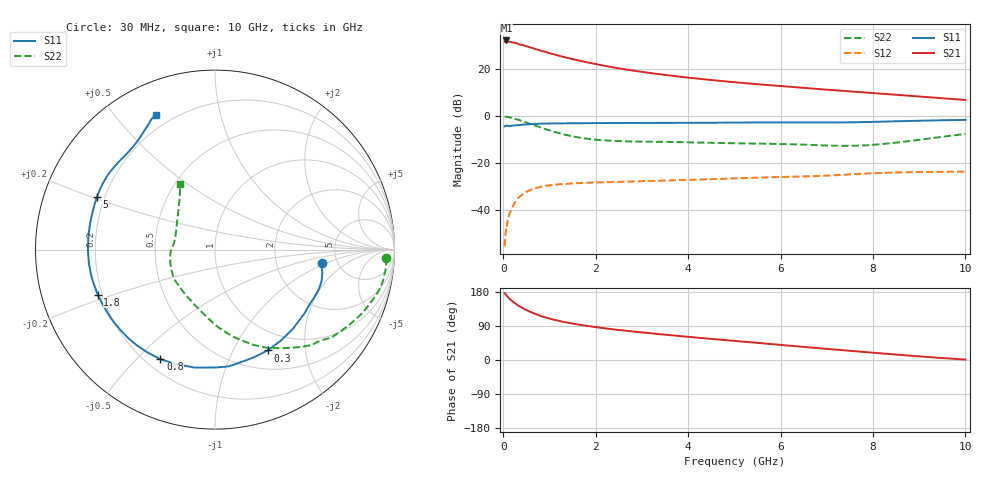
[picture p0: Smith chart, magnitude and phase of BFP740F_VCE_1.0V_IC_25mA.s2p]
! Infineon Technologies  Discrete & RF Semiconductors
! BFP740F
! VCE =  1.0 V,  IC =  25 mA
! Common Emitter S-Parameters:  Oct 2012
# GHz  S  MA  R  50
!  f  S11  S21  S12  S22
! GHz  MAG  ANG  MAG  ANG  MAG  ANG  MAG  ANG
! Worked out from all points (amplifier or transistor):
!   99 points, 30 MHz to 10 GHz, reference 50 ohm
!   highest |S21| = 32.1 dB at 70 MHz (marker M1)
!   |S21| within 3 dB of that: start of sweep to 602.3 MHz
!   unconditionally stable (mu >= 1): 4.992 GHz to end of sweep
!   at 350 MHz: K = 0.13, MSG = 32.4 dB, |S12| = -34.5 dB
!   at 3.5 GHz: K = 0.79, MSG = 22.5 dB, |S12| = -27.5 dB
!   at 10 GHz: K = 1.29, MAG = 12.0 dB, |S12| = -23.7 dB
!   S11 on the Smith chart (normalised r, x): 30 MHz: 3.75, -0.90; 300 MHz: 0.73, -1.38; 800 MHz: 0.26, -0.59; 1.8 GHz: 0.18, -0.18; 5 GHz: 0.17, +0.21; 10 GHz: 0.14, +0.64
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0.03  0.5984 -7.4  37.86 176.4  0.0017 87.5  0.9558 -2.9
0.05  0.6113 -12.0  39.32 174.0  0.0031 82.1  0.9573 -5.5
0.07  0.6189 -16.8  40.08 170.7  0.0038 82.1  0.9545 -8.0
0.1  0.6148 -24.2  38.95 166.2  0.0063 80.9  0.9482 -11.8
0.13  0.6094 -31.1  37.61 162.6  0.0082 78.2  0.9336 -15.5
0.2  0.619 -45.4  36.46 154.7  0.0114 72.3  0.8969 -22.9
0.3  0.6337 -62.4  34.67 145.8  0.0167 64.8  0.839 -32.3
0.35  0.6382 -70.5  32.94 141.8  0.0189 61.7  0.8142 -36.9
0.45  0.6549 -83.3  31.34 134.8  0.0223 56.3  0.757 -44.6
0.6  0.6671 -99.8  28.42 126.4  0.027 48.6  0.6639 -55.9
0.8  0.6823 -116.5  24.64 116.8  0.0309 41.3  0.5717 -68.1
1  0.6887 -129.2  21.61 109.4  0.0333 35.9  0.4929 -78.6
1.2  0.6915 -139.0  19.1 103.5  0.0351 31.9  0.4319 -87.7
1.7  0.6971 -156.3  14.55 92.2  0.0374 26.4  0.3375 -106.7
1.8  0.6999 -159.0  13.83 90.3  0.0378 25.7  0.3289 -110.1
2.5  0.7062 -173.3  10.22 79.2  0.0395 23.1  0.2911 -128.9
3.4  0.7089 174.0  7.646 68.0  0.0418 22.4  0.2809 -142.9
5  0.7199 155.9  5.197 50.5  0.0469 22.4  0.2619 -160.3
5.1  0.7214 155.0  5.09 49.4  0.0472 22.4  0.261 -161.6
6.7  0.7257 138.7  3.797 32.5  0.0522 22.2  0.2411 178.2
8.5  0.7673 121.2  2.806 14.3  0.0626 18.4  0.269 141.1
10  0.8214 113.7  2.182 1.1  0.0655 13.3  0.4127 118.0
